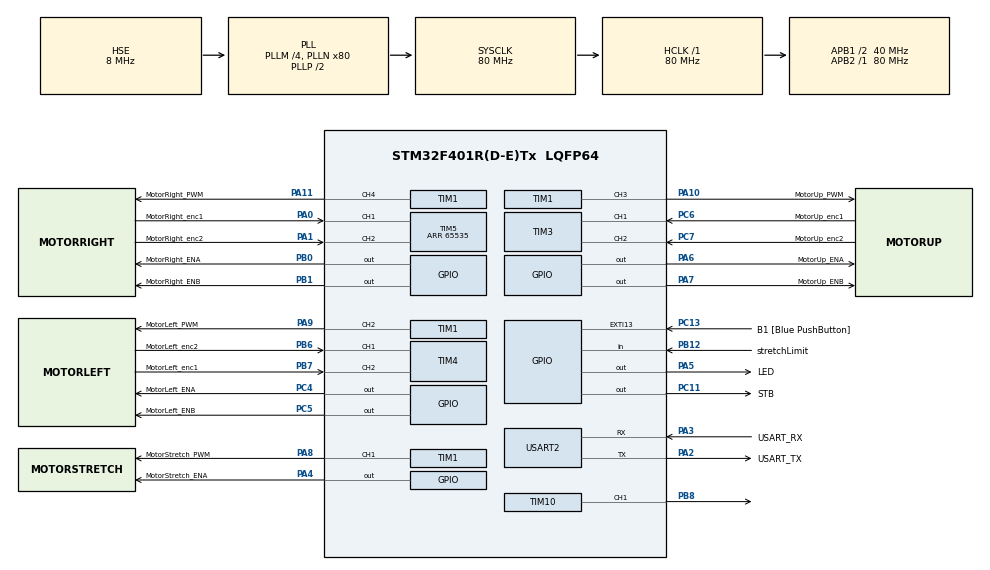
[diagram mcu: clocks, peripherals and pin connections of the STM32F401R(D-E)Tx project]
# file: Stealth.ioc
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Dma.Request0=TIM1_CH1
Dma.Request1=USART2_TX
Dma.TIM1_CH1.0.Direction=DMA_MEMORY_TO_PERIPH
Dma.TIM1_CH1.0.FIFOMode=DMA_FIFOMODE_DISABLE
Dma.TIM1_CH1.0.Instance=DMA2_Stream1
Dma.TIM1_CH1.0.MemDataAlignment=DMA_MDATAALIGN_HALFWORD
Dma.TIM1_CH1.0.MemInc=DMA_MINC_ENABLE
Dma.TIM1_CH1.0.Mode=DMA_NORMAL
Dma.TIM1_CH1.0.PeriphDataAlignment=DMA_PDATAALIGN_HALFWORD
Dma.TIM1_CH1.0.PeriphInc=DMA_PINC_DISABLE
Dma.TIM1_CH1.0.Priority=DMA_PRIORITY_LOW
Dma.USART2_TX.1.Direction=DMA_MEMORY_TO_PERIPH
Dma.USART2_TX.1.FIFOMode=DMA_FIFOMODE_DISABLE
Dma.USART2_TX.1.Instance=DMA1_Stream6
Dma.USART2_TX.1.MemDataAlignment=DMA_MDATAALIGN_BYTE
Dma.USART2_TX.1.MemInc=DMA_MINC_ENABLE
Dma.USART2_TX.1.Mode=DMA_CIRCULAR
Dma.USART2_TX.1.PeriphDataAlignment=DMA_PDATAALIGN_BYTE
Dma.USART2_TX.1.PeriphInc=DMA_PINC_DISABLE
Dma.USART2_TX.1.Priority=DMA_PRIORITY_LOW
FREERTOS.Tasks01=dataSender,-1,128,Task_dataSender,Default,NULL,Dynamic,NULL,NULL;sMotorCtrl,0,128,Task_SMotor,Default,NULL,Dynamic,NULL,NULL;dataReceiver,0,128,Task_dataReceiver,Default,NULL,Dynamic,NULL,NULL;timeCounter,1,128,Task_timeCounter,Default,NULL,Dynamic,NULL,NULL
FREERTOS.configUSE_NEWLIB_REENTRANT=1
Mcu.Family=STM32F4
Mcu.Name=STM32F401R(D-E)Tx
Mcu.Package=LQFP64
NVIC.DMA1_Stream6_IRQn=true\:5\:0\:false\:false\:true\:true\:false\:true\:true
NVIC.DMA2_Stream1_IRQn=true\:5\:0\:false\:false\:true\:true\:false\:true\:true
NVIC.EXTI15_10_IRQn=true\:5\:0\:false\:false\:true\:true\:true\:true\:true
NVIC.PriorityGroup=NVIC_PRIORITYGROUP_4
NVIC.TIM1_TRG_COM_TIM11_IRQn=true\:15\:0\:false\:false\:true\:false\:false\:true\:true
NVIC.TIM1_UP_TIM10_IRQn=true\:5\:0\:false\:false\:true\:false\:false\:true\:true
NVIC.TIM3_IRQn=true\:5\:0\:false\:false\:true\:true\:true\:true\:true
NVIC.TIM4_IRQn=true\:5\:0\:false\:false\:true\:true\:true\:true\:true
NVIC.TIM5_IRQn=true\:5\:0\:false\:false\:true\:true\:true\:true\:true
NVIC.TimeBase=TIM1_TRG_COM_TIM11_IRQn
NVIC.TimeBaseIP=TIM11
PA0-WKUP.GPIO_Label=MotorRight_enc1
PA0-WKUP.Signal=S_TIM5_CH1
PA1.GPIO_Label=MotorRight_enc2
PA1.Signal=S_TIM5_CH2
PA10.GPIO_Label=MotorUp_PWM
PA10.Signal=S_TIM1_CH3
PA11.GPIO_Label=MotorRight_PWM
PA11.Signal=S_TIM1_CH4
PA13.GPIO_Label=TMS
PA13.Mode=Serial_Wire
PA13.Signal=SYS_JTMS-SWDIO
PA14.GPIO_Label=TCK
PA14.Mode=Serial_Wire
PA14.Signal=SYS_JTCK-SWCLK
PA2.GPIO_Label=USART_TX
PA2.GPIO_Mode=GPIO_MODE_AF_PP
PA2.GPIO_PuPd=GPIO_NOPULL
PA2.GPIO_Speed=GPIO_SPEED_FREQ_LOW
PA2.Mode=Asynchronous
PA2.Signal=USART2_TX
PA3.GPIO_Label=USART_RX
PA3.GPIO_Mode=GPIO_MODE_AF_PP
PA3.GPIO_PuPd=GPIO_NOPULL
PA3.GPIO_Speed=GPIO_SPEED_FREQ_LOW
PA3.Mode=Asynchronous
PA3.Signal=USART2_RX
PA4.GPIO_Label=MotorStretch_ENA
PA4.Signal=GPIO_Output
PA5.GPIO_Label=LED
PA5.Signal=GPIO_Output
PA6.GPIO_Label=MotorUp_ENA
PA6.Signal=GPIO_Output
PA7.GPIO_Label=MotorUp_ENB
PA7.Signal=GPIO_Output
PA8.GPIO_Label=MotorStretch_PWM
PA8.Signal=S_TIM1_CH1
PA9.GPIO_Label=MotorLeft_PWM
PA9.Signal=S_TIM1_CH2
PB0.GPIO_Label=MotorRight_ENA
PB0.Signal=GPIO_Output
PB1.GPIO_Label=MotorRight_ENB
PB1.Signal=GPIO_Output
PB12.GPIO_Label=stretchLimit
PB12.GPIO_PuPd=GPIO_PULLDOWN
PB12.Signal=GPIO_Input
PB3.GPIO_Label=SWO
PB3.Signal=SYS_JTDO-SWO
PB6.GPIO_Label=MotorLeft_enc2
PB6.Signal=S_TIM4_CH1
PB7.GPIO_Label=MotorLeft_enc1
PB7.Signal=S_TIM4_CH2
PB8.Signal=S_TIM10_CH1
PC11.GPIO_Label=STB
PC11.Signal=GPIO_Output
PC13-ANTI_TAMP.GPIO_Label=B1 [Blue PushButton]
PC13-ANTI_TAMP.GPIO_ModeDefaultEXTI=GPIO_MODE_IT_FALLING
PC13-ANTI_TAMP.GPIO_PuPd=GPIO_NOPULL
PC13-ANTI_TAMP.Signal=GPXTI13
PC14-OSC32_IN.Mode=LSE-External-Oscillator
PC14-OSC32_IN.Signal=RCC_OSC32_IN
PC15-OSC32_OUT.Mode=LSE-External-Oscillator
PC15-OSC32_OUT.Signal=RCC_OSC32_OUT
PC4.GPIO_Label=MotorLeft_ENA
PC4.Signal=GPIO_Output
PC5.GPIO_Label=MotorLeft_ENB
PC5.Signal=GPIO_Output
PC6.GPIO_Label=MotorUp_enc1
PC6.Signal=S_TIM3_CH1
PC7.GPIO_Label=MotorUp_enc2
PC7.Signal=S_TIM3_CH2
PH0\ -\ OSC_IN.Mode=HSE-External-Oscillator
PH0\ -\ OSC_IN.Signal=RCC_OSC_IN
PH1\ -\ OSC_OUT.Mode=HSE-External-Oscillator
PH1\ -\ OSC_OUT.Signal=RCC_OSC_OUT
ProjectManager.HeapSize=0x200
ProjectManager.StackSize=0x400
ProjectManager.TargetToolchain=STM32CubeIDE
RCC.48MHZClocksFreq_Value=22857142.85714286
RCC.AHBFreq_Value=80000000
RCC.APB1CLKDivider=RCC_HCLK_DIV2
RCC.APB1Freq_Value=40000000
RCC.APB1TimFreq_Value=80000000
RCC.APB2Freq_Value=80000000
RCC.APB2TimFreq_Value=80000000
RCC.CortexFreq_Value=80000000
RCC.HCLKFreq_Value=80000000
RCC.HSE_VALUE=8000000
RCC.HSI_VALUE=16000000
RCC.PLLM=4
RCC.PLLN=80
RCC.PLLQ=7
RCC.PLLSourceVirtual=RCC_PLLSOURCE_HSE
RCC.SYSCLKFreq_VALUE=80000000
RCC.SYSCLKSource=RCC_SYSCLKSOURCE_PLLCLK
RCC.VCOOutputFreq_Value=160000000
SH.S_TIM10_CH1.0=TIM10_CH1,PWM Generation1 CH1
SH.S_TIM1_CH1.0=TIM1_CH1,PWM Generation1 CH1
SH.S_TIM1_CH2.0=TIM1_CH2,PWM Generation2 CH2
SH.S_TIM1_CH3.0=TIM1_CH3,PWM Generation3 CH3
SH.S_TIM1_CH4.0=TIM1_CH4,PWM Generation4 CH4
SH.S_TIM3_CH1.0=TIM3_CH1,Encoder_Interface
SH.S_TIM3_CH2.0=TIM3_CH2,Encoder_Interface
SH.S_TIM4_CH1.0=TIM4_CH1,Encoder_Interface
SH.S_TIM4_CH2.0=TIM4_CH2,Encoder_Interface
SH.S_TIM5_CH1.0=TIM5_CH1,Encoder_Interface
SH.S_TIM5_CH2.0=TIM5_CH2,Encoder_Interface
TIM1.AutoReloadPreload=TIM_AUTORELOAD_PRELOAD_ENABLE
TIM1.Channel-PWM\ Generation1\ CH1=TIM_CHANNEL_1
TIM1.Channel-PWM\ Generation2\ CH2=TIM_CHANNEL_2
TIM1.Channel-PWM\ Generation3\ CH3=TIM_CHANNEL_3
TIM1.Channel-PWM\ Generation4\ CH4=TIM_CHANNEL_4
TIM1.Period=100-1
TIM1.Prescaler=80-1
TIM10.Channel=TIM_CHANNEL_1
TIM10.Period=100-1
TIM10.Prescaler=80-1
TIM2.Period=100-1
TIM2.Prescaler=80-1
TIM3.EncoderMode=TIM_ENCODERMODE_TI12
TIM3.IC1Polarity=TIM_ICPOLARITY_FALLING
TIM3.IC2Polarity=TIM_ICPOLARITY_FALLING
TIM4.EncoderMode=TIM_ENCODERMODE_TI12
TIM4.IC1Polarity=TIM_ICPOLARITY_FALLING
TIM4.IC2Polarity=TIM_ICPOLARITY_FALLING
TIM5.EncoderMode=TIM_ENCODERMODE_TI12
TIM5.IC1Polarity=TIM_ICPOLARITY_FALLING
TIM5.IC2Polarity=TIM_ICPOLARITY_FALLING
TIM5.Period=65535
USART2.VirtualMode=VM_ASYNC
VP_FREERTOS_VS_CMSIS_V1.Mode=CMSIS_V1
VP_SYS_VS_tim11.Mode=TIM11
VP_TIM10_VS_ClockSourceINT.Mode=Enable_Timer
VP_TIM1_VS_ClockSourceINT.Mode=Internal
VP_TIM2_VS_ClockSourceINT.Mode=Internal
board=NUCLEO-F401RE

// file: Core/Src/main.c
/* USER CODE BEGIN Header */
/**
  ******************************************************************************
  * @file           : main.c
  * @brief          : Main program body
  ******************************************************************************
  * @attention
  *
  * Copyright (c) 2023 STMicroelectronics.
  * All rights reserved.
  *
  * This software is licensed under terms that can be found in the LICENSE file
  * in the root directory of this software component.
  * If no LICENSE file comes with this software, it is provided AS-IS.
  *
  ******************************************************************************
  */
/* USER CODE END Header */
#include "main.h"
#include "cmsis_os.h"

/* USER CODE BEGIN Includes */
#include <stdio.h>
#include <stdlib.h>
#include <string.h>
/* USER CODE END Includes */

/* USER CODE BEGIN PD */
#define ADC_BUFF_LEN 4096
/* USER CODE END PD */

TIM_HandleTypeDef htim1;
TIM_HandleTypeDef htim2;
TIM_HandleTypeDef htim3;
TIM_HandleTypeDef htim4;
TIM_HandleTypeDef htim5;
TIM_HandleTypeDef htim10;
DMA_HandleTypeDef hdma_tim1_ch1;

UART_HandleTypeDef huart2;
DMA_HandleTypeDef hdma_usart2_tx;

osThreadId dataSenderHandle;
osThreadId sMotorCtrlHandle;
osThreadId dataReceiverHandle;
osThreadId timeCounterHandle;
/* USER CODE BEGIN PV */
const double PI = 3.1415926535897932384626433832795028841971693993751058209;
// Private variables

// ADC buffer
uint16_t adc_buff[ADC_BUFF_LEN];

/* USER CODE END PV */

void SystemClock_Config(void);
static void MX_GPIO_Init(void);
static void MX_DMA_Init(void);
static void MX_USART2_UART_Init(void);
static void MX_TIM1_Init(void);
static void MX_TIM3_Init(void);
static void MX_TIM4_Init(void);
static void MX_TIM5_Init(void);
static void MX_TIM2_Init(void);
static void MX_TIM10_Init(void);
void Task_dataSender(void const * argument);
void Task_SMotor(void const * argument);
void Task_dataReceiver(void const * argument);
void Task_timeCounter(void const * argument);

/* USER CODE BEGIN PFP */
// Write your user-defined function declaration here

/* USER CODE END PFP */

/* USER CODE BEGIN 0 */
// Write your user-defined function here

// UART data
uint8_t RxData[10];
// Encoder part 0: stretch, 1: up motor, 2: left motor, 3: right motor
uint64_t counter[4] = {0, 0, 0, 0};
int64_t count[4] = {0, 0, 0, 0};
int64_t pos[4] = {0, 0, 0, 0};			// motor position measured by encoder
float vel[4] = {0, 0, 0, 0};				// motor velocity measured by encoder
float velTarget[4] = {0, 1, 1, 1}; // desired velocity commanded through UART (abs_max: 800)

// Motor control parameters
float Kp[4] = {5.0f, 5.0f, 5.0f, 5.0f}; float Ki[4] = {0.01f, 0.0f, 0.0f, 0.0f};
float e_prev[4] = {0.0f, 0.0f, 0.0f, 0.0f}; float e_intgl[4] = {0.0f, 0.0f, 0.0f, 0.0f};

// Encoder interrupt function
void HAL_TIM_IC_CaptureCallback(TIM_HandleTypeDef *htim)
{
	// Test
	// Update the counters
	if (htim->Instance == TIM3)			// the up traction motor
	{
		counter[1] = __HAL_TIM_GET_COUNTER(htim);
		count[1] = (int32_t)counter[1]/4;
		pos[1] = count[1]/400;
	}
	else if (htim->Instance == TIM4)	// the Left traction motor
	{
		counter[2] = __HAL_TIM_GET_COUNTER(htim);
		count[2] = (int32_t)counter[2]/4;
		pos[2] = count[2]/400;
	}
	else if (htim->Instance == TIM5)	// the right traction motor
	{
		counter[3] = __HAL_TIM_GET_COUNTER(htim);
		count[3] = (int32_t)counter[3]/4;
		pos[3] = count[2]/400;
	}
}

// Console printf function
int _write(int file, char *ptr, int len)
{
    /* implement your write code here,
     * this is used by puts and printf for example */
    for (int i = 0; i < len; i++) ITM_SendChar((*ptr++));
    return len;
}

/* USER CODE END 0 */

int main(void)
{

  /* MCU Configuration--------------------------------------------------------*/

  /* Reset of all peripherals, Initializes the Flash interface and the Systick. */
  HAL_Init();

  /* Configure the system clock */
  SystemClock_Config();

  /* Initialize all configured peripherals */
  MX_GPIO_Init();
  MX_DMA_Init();
  MX_USART2_UART_Init();
  MX_TIM1_Init();
  MX_TIM3_Init();
  MX_TIM4_Init();
  MX_TIM5_Init();
  MX_TIM2_Init();
  MX_TIM10_Init();
  /* USER CODE BEGIN 2 */
  // Encoder Interrupt settings
  HAL_TIM_Encoder_Start_IT(&htim3, TIM_CHANNEL_ALL);
  HAL_TIM_Encoder_Start_IT(&htim4, TIM_CHANNEL_ALL);
  HAL_TIM_Encoder_Start_IT(&htim5, TIM_CHANNEL_ALL); // encoder of the stretch motor

  // pwm settings
  // TIM2->CCR1 = 50; HAL_TIM_PWM_Start(&htim2, TIM_CHANNEL_1);
  TIM1->CCR2 = 0; HAL_TIM_PWM_Start(&htim1, TIM_CHANNEL_2);	// Left motor
  TIM1->CCR3 = 0; HAL_TIM_PWM_Start(&htim1, TIM_CHANNEL_3); // Up motor
  TIM1->CCR1 = 0; HAL_TIM_PWM_Start(&htim4, TIM_CHANNEL_1); // Right motor
  TIM10->CCR1 = 50; HAL_TIM_PWM_Start(&htim10, TIM_CHANNEL_1);
  // Motor controller STB pin
  HAL_GPIO_WritePin(STB_GPIO_Port, STB_Pin, GPIO_PIN_SET);
  /* USER CODE END 2 */

  /* Create the thread(s) */
  /* definition and creation of dataSender */
  osThreadDef(dataSender, Task_dataSender, osPriorityBelowNormal, 0, 128);
  dataSenderHandle = osThreadCreate(osThread(dataSender), NULL);

  /* definition and creation of sMotorCtrl */
  osThreadDef(sMotorCtrl, Task_SMotor, osPriorityNormal, 0, 128);
  sMotorCtrlHandle = osThreadCreate(osThread(sMotorCtrl), NULL);

  /* definition and creation of dataReceiver */
  osThreadDef(dataReceiver, Task_dataReceiver, osPriorityNormal, 0, 128);
  dataReceiverHandle = osThreadCreate(osThread(dataReceiver), NULL);

  /* definition and creation of timeCounter */
  osThreadDef(timeCounter, Task_timeCounter, osPriorityAboveNormal, 0, 128);
  timeCounterHandle = osThreadCreate(osThread(timeCounter), NULL);

  /* Start scheduler */
  osKernelStart();

  /* We should never get here as control is now taken by the scheduler */
  /* Infinite loop */
  while (1)
  {

  }
}

void SystemClock_Config(void)
{
  RCC_OscInitTypeDef RCC_OscInitStruct = {0};
  RCC_ClkInitTypeDef RCC_ClkInitStruct = {0};

  /** Configure the main internal regulator output voltage
  */
  __HAL_RCC_PWR_CLK_ENABLE();
  __HAL_PWR_VOLTAGESCALING_CONFIG(PWR_REGULATOR_VOLTAGE_SCALE2);

  /** Initializes the RCC Oscillators according to the specified parameters
  * in the RCC_OscInitTypeDef structure.
  */
  RCC_OscInitStruct.OscillatorType = RCC_OSCILLATORTYPE_HSE;
  RCC_OscInitStruct.HSEState = RCC_HSE_ON;
  RCC_OscInitStruct.PLL.PLLState = RCC_PLL_ON;
  RCC_OscInitStruct.PLL.PLLSource = RCC_PLLSOURCE_HSE;
  RCC_OscInitStruct.PLL.PLLM = 4;
  RCC_OscInitStruct.PLL.PLLN = 80;
  RCC_OscInitStruct.PLL.PLLP = RCC_PLLP_DIV2;
  RCC_OscInitStruct.PLL.PLLQ = 7;
  if (HAL_RCC_OscConfig(&RCC_OscInitStruct) != HAL_OK)
  {
    Error_Handler();
  }

  /** Initializes the CPU, AHB and APB buses clocks
  */
  RCC_ClkInitStruct.ClockType = RCC_CLOCKTYPE_HCLK|RCC_CLOCKTYPE_SYSCLK
                              |RCC_CLOCKTYPE_PCLK1|RCC_CLOCKTYPE_PCLK2;
  RCC_ClkInitStruct.SYSCLKSource = RCC_SYSCLKSOURCE_PLLCLK;
  RCC_ClkInitStruct.AHBCLKDivider = RCC_SYSCLK_DIV1;
  RCC_ClkInitStruct.APB1CLKDivider = RCC_HCLK_DIV2;
  RCC_ClkInitStruct.APB2CLKDivider = RCC_HCLK_DIV1;

  if (HAL_RCC_ClockConfig(&RCC_ClkInitStruct, FLASH_LATENCY_2) != HAL_OK)
  {
    Error_Handler();
  }
}

static void MX_TIM1_Init(void)
{

  TIM_ClockConfigTypeDef sClockSourceConfig = {0};
  TIM_MasterConfigTypeDef sMasterConfig = {0};
  TIM_OC_InitTypeDef sConfigOC = {0};
  TIM_BreakDeadTimeConfigTypeDef sBreakDeadTimeConfig = {0};

  htim1.Instance = TIM1;
  htim1.Init.Prescaler = 80-1;
  htim1.Init.CounterMode = TIM_COUNTERMODE_UP;
  htim1.Init.Period = 100-1;
  htim1.Init.ClockDivision = TIM_CLOCKDIVISION_DIV1;
  htim1.Init.RepetitionCounter = 0;
  htim1.Init.AutoReloadPreload = TIM_AUTORELOAD_PRELOAD_ENABLE;
  if (HAL_TIM_Base_Init(&htim1) != HAL_OK)
  {
    Error_Handler();
  }
  sClockSourceConfig.ClockSource = TIM_CLOCKSOURCE_INTERNAL;
  if (HAL_TIM_ConfigClockSource(&htim1, &sClockSourceConfig) != HAL_OK)
  {
    Error_Handler();
  }
  if (HAL_TIM_PWM_Init(&htim1) != HAL_OK)
  {
    Error_Handler();
  }
  sMasterConfig.MasterOutputTrigger = TIM_TRGO_RESET;
  sMasterConfig.MasterSlaveMode = TIM_MASTERSLAVEMODE_DISABLE;
  if (HAL_TIMEx_MasterConfigSynchronization(&htim1, &sMasterConfig) != HAL_OK)
  {
    Error_Handler();
  }
  sConfigOC.OCMode = TIM_OCMODE_PWM1;
  sConfigOC.Pulse = 0;
  sConfigOC.OCPolarity = TIM_OCPOLARITY_HIGH;
  sConfigOC.OCNPolarity = TIM_OCNPOLARITY_HIGH;
  sConfigOC.OCFastMode = TIM_OCFAST_DISABLE;
  sConfigOC.OCIdleState = TIM_OCIDLESTATE_RESET;
  sConfigOC.OCNIdleState = TIM_OCNIDLESTATE_RESET;
  if (HAL_TIM_PWM_ConfigChannel(&htim1, &sConfigOC, TIM_CHANNEL_1) != HAL_OK)
  {
    Error_Handler();
  }
  if (HAL_TIM_PWM_ConfigChannel(&htim1, &sConfigOC, TIM_CHANNEL_2) != HAL_OK)
  {
    Error_Handler();
  }
  if (HAL_TIM_PWM_ConfigChannel(&htim1, &sConfigOC, TIM_CHANNEL_3) != HAL_OK)
  {
    Error_Handler();
  }
  if (HAL_TIM_PWM_ConfigChannel(&htim1, &sConfigOC, TIM_CHANNEL_4) != HAL_OK)
  {
    Error_Handler();
  }
  sBreakDeadTimeConfig.OffStateRunMode = TIM_OSSR_DISABLE;
  sBreakDeadTimeConfig.OffStateIDLEMode = TIM_OSSI_DISABLE;
  sBreakDeadTimeConfig.LockLevel = TIM_LOCKLEVEL_OFF;
  sBreakDeadTimeConfig.DeadTime = 0;
  sBreakDeadTimeConfig.BreakState = TIM_BREAK_DISABLE;
  sBreakDeadTimeConfig.BreakPolarity = TIM_BREAKPOLARITY_HIGH;
  sBreakDeadTimeConfig.AutomaticOutput = TIM_AUTOMATICOUTPUT_DISABLE;
  if (HAL_TIMEx_ConfigBreakDeadTime(&htim1, &sBreakDeadTimeConfig) != HAL_OK)
  {
    Error_Handler();
  }
  HAL_TIM_MspPostInit(&htim1);

}

static void MX_TIM2_Init(void)
{

  TIM_ClockConfigTypeDef sClockSourceConfig = {0};
  TIM_MasterConfigTypeDef sMasterConfig = {0};

  htim2.Instance = TIM2;
  htim2.Init.Prescaler = 80-1;
  htim2.Init.CounterMode = TIM_COUNTERMODE_UP;
  htim2.Init.Period = 100-1;
  htim2.Init.ClockDivision = TIM_CLOCKDIVISION_DIV1;
  htim2.Init.AutoReloadPreload = TIM_AUTORELOAD_PRELOAD_DISABLE;
  if (HAL_TIM_Base_Init(&htim2) != HAL_OK)
  {
    Error_Handler();
  }
  sClockSourceConfig.ClockSource = TIM_CLOCKSOURCE_INTERNAL;
  if (HAL_TIM_ConfigClockSource(&htim2, &sClockSourceConfig) != HAL_OK)
  {
    Error_Handler();
  }
  sMasterConfig.MasterOutputTrigger = TIM_TRGO_RESET;
  sMasterConfig.MasterSlaveMode = TIM_MASTERSLAVEMODE_DISABLE;
  if (HAL_TIMEx_MasterConfigSynchronization(&htim2, &sMasterConfig) != HAL_OK)
  {
    Error_Handler();
  }

}

static void MX_TIM3_Init(void)
{

  TIM_Encoder_InitTypeDef sConfig = {0};
  TIM_MasterConfigTypeDef sMasterConfig = {0};

  htim3.Instance = TIM3;
  htim3.Init.Prescaler = 0;
  htim3.Init.CounterMode = TIM_COUNTERMODE_UP;
  htim3.Init.Period = 65535;
  htim3.Init.ClockDivision = TIM_CLOCKDIVISION_DIV1;
  htim3.Init.AutoReloadPreload = TIM_AUTORELOAD_PRELOAD_DISABLE;
  sConfig.EncoderMode = TIM_ENCODERMODE_TI12;
  sConfig.IC1Polarity = TIM_ICPOLARITY_FALLING;
  sConfig.IC1Selection = TIM_ICSELECTION_DIRECTTI;
  sConfig.IC1Prescaler = TIM_ICPSC_DIV1;
  sConfig.IC1Filter = 0;
  sConfig.IC2Polarity = TIM_ICPOLARITY_FALLING;
  sConfig.IC2Selection = TIM_ICSELECTION_DIRECTTI;
  sConfig.IC2Prescaler = TIM_ICPSC_DIV1;
  sConfig.IC2Filter = 0;
  if (HAL_TIM_Encoder_Init(&htim3, &sConfig) != HAL_OK)
  {
    Error_Handler();
  }
  sMasterConfig.MasterOutputTrigger = TIM_TRGO_RESET;
  sMasterConfig.MasterSlaveMode = TIM_MASTERSLAVEMODE_DISABLE;
  if (HAL_TIMEx_MasterConfigSynchronization(&htim3, &sMasterConfig) != HAL_OK)
  {
    Error_Handler();
  }
  /* USER CODE BEGIN TIM3_Init 2 */
  HAL_TIM_Encoder_Start(&htim3, TIM_CHANNEL_ALL);
  /* USER CODE END TIM3_Init 2 */

}

static void MX_TIM4_Init(void)
{

  TIM_Encoder_InitTypeDef sConfig = {0};
  TIM_MasterConfigTypeDef sMasterConfig = {0};

  htim4.Instance = TIM4;
  htim4.Init.Prescaler = 0;
  htim4.Init.CounterMode = TIM_COUNTERMODE_UP;
  htim4.Init.Period = 65535;
  htim4.Init.ClockDivision = TIM_CLOCKDIVISION_DIV1;
  htim4.Init.AutoReloadPreload = TIM_AUTORELOAD_PRELOAD_DISABLE;
  sConfig.EncoderMode = TIM_ENCODERMODE_TI12;
  sConfig.IC1Polarity = TIM_ICPOLARITY_FALLING;
  sConfig.IC1Selection = TIM_ICSELECTION_DIRECTTI;
  sConfig.IC1Prescaler = TIM_ICPSC_DIV1;
  sConfig.IC1Filter = 0;
  sConfig.IC2Polarity = TIM_ICPOLARITY_FALLING;
  sConfig.IC2Selection = TIM_ICSELECTION_DIRECTTI;
  sConfig.IC2Prescaler = TIM_ICPSC_DIV1;
  sConfig.IC2Filter = 0;
  if (HAL_TIM_Encoder_Init(&htim4, &sConfig) != HAL_OK)
  {
    Error_Handler();
  }
  sMasterConfig.MasterOutputTrigger = TIM_TRGO_RESET;
  sMasterConfig.MasterSlaveMode = TIM_MASTERSLAVEMODE_DISABLE;
  if (HAL_TIMEx_MasterConfigSynchronization(&htim4, &sMasterConfig) != HAL_OK)
  {
    Error_Handler();
  }

}

static void MX_TIM5_Init(void)
{

  TIM_Encoder_InitTypeDef sConfig = {0};
  TIM_MasterConfigTypeDef sMasterConfig = {0};

  htim5.Instance = TIM5;
  htim5.Init.Prescaler = 0;
  htim5.Init.CounterMode = TIM_COUNTERMODE_UP;
  htim5.Init.Period = 65535;
  htim5.Init.ClockDivision = TIM_CLOCKDIVISION_DIV1;
  htim5.Init.AutoReloadPreload = TIM_AUTORELOAD_PRELOAD_DISABLE;
  sConfig.EncoderMode = TIM_ENCODERMODE_TI12;
  sConfig.IC1Polarity = TIM_ICPOLARITY_FALLING;
  sConfig.IC1Selection = TIM_ICSELECTION_DIRECTTI;
  sConfig.IC1Prescaler = TIM_ICPSC_DIV1;
  sConfig.IC1Filter = 0;
  sConfig.IC2Polarity = TIM_ICPOLARITY_FALLING;
  sConfig.IC2Selection = TIM_ICSELECTION_DIRECTTI;
  sConfig.IC2Prescaler = TIM_ICPSC_DIV1;
  sConfig.IC2Filter = 0;
  if (HAL_TIM_Encoder_Init(&htim5, &sConfig) != HAL_OK)
  {
    Error_Handler();
  }
  sMasterConfig.MasterOutputTrigger = TIM_TRGO_RESET;
  sMasterConfig.MasterSlaveMode = TIM_MASTERSLAVEMODE_DISABLE;
  if (HAL_TIMEx_MasterConfigSynchronization(&htim5, &sMasterConfig) != HAL_OK)
  {
    Error_Handler();
  }

}

static void MX_TIM10_Init(void)
{

  TIM_OC_InitTypeDef sConfigOC = {0};

  htim10.Instance = TIM10;
  htim10.Init.Prescaler = 80-1;
  htim10.Init.CounterMode = TIM_COUNTERMODE_UP;
  htim10.Init.Period = 100-1;
  htim10.Init.ClockDivision = TIM_CLOCKDIVISION_DIV1;
  htim10.Init.AutoReloadPreload = TIM_AUTORELOAD_PRELOAD_DISABLE;
  if (HAL_TIM_Base_Init(&htim10) != HAL_OK)
  {
    Error_Handler();
  }
  if (HAL_TIM_PWM_Init(&htim10) != HAL_OK)
  {
    Error_Handler();
  }
  sConfigOC.OCMode = TIM_OCMODE_PWM1;
  sConfigOC.Pulse = 0;
  sConfigOC.OCPolarity = TIM_OCPOLARITY_HIGH;
  sConfigOC.OCFastMode = TIM_OCFAST_DISABLE;
  if (HAL_TIM_PWM_ConfigChannel(&htim10, &sConfigOC, TIM_CHANNEL_1) != HAL_OK)
  {
    Error_Handler();
  }
  HAL_TIM_MspPostInit(&htim10);

}

static void MX_USART2_UART_Init(void)
{

  huart2.Instance = USART2;
  huart2.Init.BaudRate = 115200;
  huart2.Init.WordLength = UART_WORDLENGTH_8B;
  huart2.Init.StopBits = UART_STOPBITS_1;
  huart2.Init.Parity = UART_PARITY_NONE;
  huart2.Init.Mode = UART_MODE_TX_RX;
  huart2.Init.HwFlowCtl = UART_HWCONTROL_NONE;
  huart2.Init.OverSampling = UART_OVERSAMPLING_16;
  if (HAL_UART_Init(&huart2) != HAL_OK)
  {
    Error_Handler();
  }

}

static void MX_DMA_Init(void)
{

  /* DMA controller clock enable */
  __HAL_RCC_DMA2_CLK_ENABLE();
  __HAL_RCC_DMA1_CLK_ENABLE();

  /* DMA interrupt init */
  /* DMA1_Stream6_IRQn interrupt configuration */
  HAL_NVIC_SetPriority(DMA1_Stream6_IRQn, 5, 0);
  HAL_NVIC_EnableIRQ(DMA1_Stream6_IRQn);
  /* DMA2_Stream1_IRQn interrupt configuration */
  HAL_NVIC_SetPriority(DMA2_Stream1_IRQn, 5, 0);
  HAL_NVIC_EnableIRQ(DMA2_Stream1_IRQn);

}

static void MX_GPIO_Init(void)
{
  GPIO_InitTypeDef GPIO_InitStruct = {0};

  /* GPIO Ports Clock Enable */
  __HAL_RCC_GPIOC_CLK_ENABLE();
  __HAL_RCC_GPIOH_CLK_ENABLE();
  __HAL_RCC_GPIOA_CLK_ENABLE();
  __HAL_RCC_GPIOB_CLK_ENABLE();

  /*Configure GPIO pin Output Level */
  HAL_GPIO_WritePin(GPIOA, MotorStretch_ENA_Pin|LED_Pin|MotorUp_ENA_Pin|MotorUp_ENB_Pin, GPIO_PIN_RESET);

  /*Configure GPIO pin Output Level */
  HAL_GPIO_WritePin(GPIOC, MotorLeft_ENA_Pin|MotorLeft_ENB_Pin|STB_Pin, GPIO_PIN_RESET);

  /*Configure GPIO pin Output Level */
  HAL_GPIO_WritePin(GPIOB, MotorRight_ENA_Pin|MotorRight_ENB_Pin, GPIO_PIN_RESET);

  /*Configure GPIO pin : B1_Pin */
  GPIO_InitStruct.Pin = B1_Pin;
  GPIO_InitStruct.Mode = GPIO_MODE_IT_FALLING;
  GPIO_InitStruct.Pull = GPIO_NOPULL;
  HAL_GPIO_Init(B1_GPIO_Port, &GPIO_InitStruct);

  /*Configure GPIO pins : MotorStretch_ENA_Pin LED_Pin MotorUp_ENA_Pin MotorUp_ENB_Pin */
  GPIO_InitStruct.Pin = MotorStretch_ENA_Pin|LED_Pin|MotorUp_ENA_Pin|MotorUp_ENB_Pin;
  GPIO_InitStruct.Mode = GPIO_MODE_OUTPUT_PP;
  GPIO_InitStruct.Pull = GPIO_NOPULL;
  GPIO_InitStruct.Speed = GPIO_SPEED_FREQ_LOW;
  HAL_GPIO_Init(GPIOA, &GPIO_InitStruct);

  /*Configure GPIO pins : MotorLeft_ENA_Pin MotorLeft_ENB_Pin STB_Pin */
  GPIO_InitStruct.Pin = MotorLeft_ENA_Pin|MotorLeft_ENB_Pin|STB_Pin;
  GPIO_InitStruct.Mode = GPIO_MODE_OUTPUT_PP;
  GPIO_InitStruct.Pull = GPIO_NOPULL;
  GPIO_InitStruct.Speed = GPIO_SPEED_FREQ_LOW;
  HAL_GPIO_Init(GPIOC, &GPIO_InitStruct);

  /*Configure GPIO pins : MotorRight_ENA_Pin MotorRight_ENB_Pin */
  GPIO_InitStruct.Pin = MotorRight_ENA_Pin|MotorRight_ENB_Pin;
  GPIO_InitStruct.Mode = GPIO_MODE_OUTPUT_PP;
  GPIO_InitStruct.Pull = GPIO_NOPULL;
  GPIO_InitStruct.Speed = GPIO_SPEED_FREQ_LOW;
  HAL_GPIO_Init(GPIOB, &GPIO_InitStruct);

  /*Configure GPIO pin : stretchLimit_Pin */
  GPIO_InitStruct.Pin = stretchLimit_Pin;
  GPIO_InitStruct.Mode = GPIO_MODE_INPUT;
  GPIO_InitStruct.Pull = GPIO_PULLDOWN;
  HAL_GPIO_Init(stretchLimit_GPIO_Port, &GPIO_InitStruct);

  /* EXTI interrupt init*/
  HAL_NVIC_SetPriority(EXTI15_10_IRQn, 5, 0);
  HAL_NVIC_EnableIRQ(EXTI15_10_IRQn);

}

/* USER CODE BEGIN 4 */
// External Interrupt Function for Encoders
void HAL_GPIO_EXTI_Callback(uint16_t GPIO_Pin)
{

}
/* USER CODE END 4 */

void Task_dataSender(void const * argument)
{
  /* USER CODE BEGIN 5 */

  /* Infinite loop */
  for(;;)
  {
	  // Receive data from UART
	  // HAL_UART_Receive(&huart2, RxData, 5, HAL_MAX_DELAY);
	  // slice the data

    osDelay(1);
  }
  /* USER CODE END 5 */
}

void Task_SMotor(void const * argument)
{
  /* USER CODE BEGIN Task_SMotor */
	// Motor parameters
	// int traction_tks2Rd = 32000;
	float e[4] = {0, 0, 0, 0};
	float u[4] = {0, 0, 0, 0};
	int dir[4] = {0, 0, 0, 0};
	int pwr2motor[4] = {0, 0, 0, 0};
	// Pull STB pin as high
	HAL_GPIO_WritePin(STB_GPIO_Port, STB_Pin, GPIO_PIN_SET);
  /* Infinite loop */
  for(;;)
  {
	  // Calculate error
	  for (int i = 0; i<4; i++) e[i] = velTarget[i] - vel[i];
	  // Calculate control signal
	  for (int i = 0; i<4; i++) u[i] = Kp[i]*e[i] + Ki[i]*e_intgl[i];
	  // Power output for motor controller
	  for (int i = 0; i<4; i++) dir[i] = (u[i]>=0)? 1: -1; // direction
	  for (int i = 0; i<4; i++) pwr2motor[i] = (u[i] > 100)? 100: (int)u[i]; // PWM saturation

	  // Motors control
	  // Motor Up
	  TIM1->CCR3 = pwr2motor[1];
	  if (dir[1] == 1)
	  {
		  HAL_GPIO_WritePin(MotorUp_ENA_GPIO_Port, MotorUp_ENA_Pin, GPIO_PIN_SET);
		  HAL_GPIO_WritePin(MotorUp_ENB_GPIO_Port, MotorUp_ENB_Pin, GPIO_PIN_RESET);
	  }
	  else
	  {
		  HAL_GPIO_WritePin(MotorUp_ENA_GPIO_Port, MotorUp_ENA_Pin, GPIO_PIN_RESET);
		  HAL_GPIO_WritePin(MotorUp_ENB_GPIO_Port, MotorUp_ENB_Pin, GPIO_PIN_SET);
	  }
	  // Motor left
	  TIM1->CCR2 = pwr2motor[2];
	  if (dir[2] == 1)
	  {
		  HAL_GPIO_WritePin(MotorLeft_ENA_GPIO_Port, MotorLeft_ENA_Pin, GPIO_PIN_SET);
		  HAL_GPIO_WritePin(MotorLeft_ENB_GPIO_Port, MotorLeft_ENB_Pin, GPIO_PIN_RESET);
	  }
	  else
	  {
		  HAL_GPIO_WritePin(MotorLeft_ENA_GPIO_Port, MotorLeft_ENA_Pin, GPIO_PIN_RESET);
		  HAL_GPIO_WritePin(MotorLeft_ENB_GPIO_Port, MotorLeft_ENB_Pin, GPIO_PIN_SET);
	  }
	  // Motor right
	  TIM10->CCR1 = pwr2motor[3];
	  if (dir[3] == 1)
	  {
		  HAL_GPIO_WritePin(MotorRight_ENA_GPIO_Port, MotorRight_ENA_Pin, GPIO_PIN_SET);
		  HAL_GPIO_WritePin(MotorRight_ENB_GPIO_Port, MotorRight_ENB_Pin, GPIO_PIN_RESET);
	  }
	  else
	  {
		  HAL_GPIO_WritePin(MotorRight_ENA_GPIO_Port, MotorRight_ENA_Pin, GPIO_PIN_RESET);
		  HAL_GPIO_WritePin(MotorRight_ENB_GPIO_Port, MotorRight_ENB_Pin, GPIO_PIN_SET);
	  }

	  // Update variables
	  for (int i = 0; i<4; i++) e_intgl[i] += e[i];
    osDelay(1);
  }
  /* USER CODE END Task_SMotor */
}

void Task_dataReceiver(void const * argument)
{
  /* USER CODE BEGIN Task_dataReceiver */
	uint16_t velMax = 800;	// the maximum velocity can be driven, get the value by experiment
  /* Infinite loop */
  for(;;)
  {
	  // Receive the data
	  HAL_UART_Receive(&huart2, (uint8_t *)RxData, 5, HAL_MAX_DELAY);
	  // slice the data into wanted parts
	  uint8_t id = RxData[0] - '0';	// subtract '0' to get numeric values
	  uint8_t dirTarget = (RxData[1] == '1')? 1: 0;	// determine motor direction
	  uint8_t velCom = (RxData[2] - '0') * 100 + (RxData[3] - '0') * 10 + (RxData[4] - '0');
	  // uint8_t travCom = (RxData[5] - '0') * 10 + (RxData[6] - '0');
	  // Set the value to the control module
	  // count[id] = 0; // Reset the moved distance
	  velTarget[id] = (dirTarget == 1) ? velCom*velMax/100 : -1*velCom*velMax/100;
	  // travTarget[id] = travCom;
	  // print out debug messages to the ITM console
	  // printf("Receiving id: %d, velocity set as: %d, travel set as: %d\n", id, velCom, trvCom);
    osDelay(100);
  }
  /* USER CODE END Task_dataReceiver */
}

void Task_timeCounter(void const * argument)
{
  /* USER CODE BEGIN Task_timeCounter */
	uint16_t timeCount = 0;
	uint16_t timeInterval = 500; // 500 mili-seconds
	// previous value
	int32_t posPrev[4] = {0, 0, 0, 0};
  /* Infinite loop */
  for(;;)
  {
	  timeCount++;
	  // calculate every "timeInterval" mili-seconds
	  if (timeCount >= timeInterval)
	  {
		  HAL_GPIO_WritePin(LED_GPIO_Port, LED_Pin, GPIO_PIN_SET);

		  timeCount = 0;	// Reset the counter
		  // Calculate velocity
		  for (int i = 0; i < 4; i++) vel[i] = -1*(pos[i] - posPrev[i]);
		  // Update previous position
		  for (int i = 0; i < 4; i++) posPrev[i] = pos[i];
	  }
    osDelay(1);
    HAL_GPIO_WritePin(LED_GPIO_Port, LED_Pin, GPIO_PIN_RESET);
  }
  /* USER CODE END Task_timeCounter */
}

void HAL_TIM_PeriodElapsedCallback(TIM_HandleTypeDef *htim)
{
  if (htim->Instance == TIM11) {
    HAL_IncTick();
  }
}

void Error_Handler(void)
{
  __disable_irq();
  while (1)
  {
  }
}
